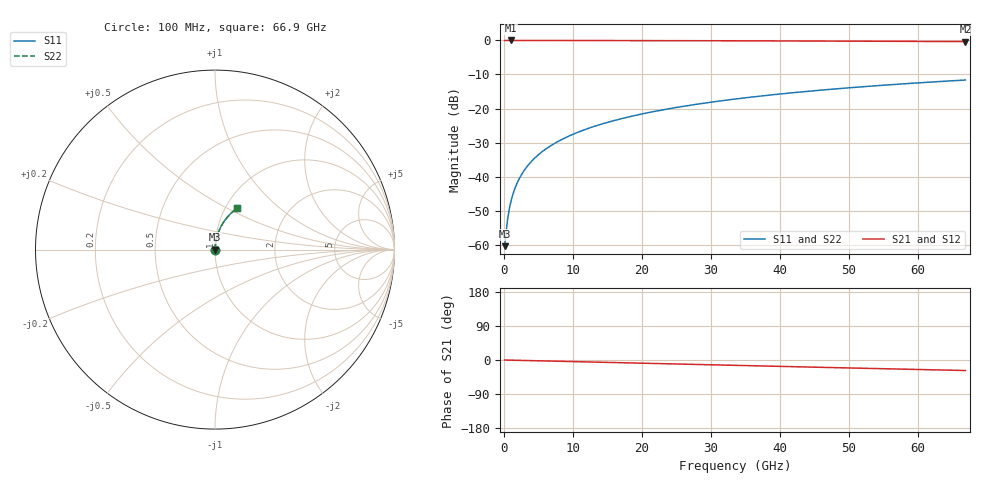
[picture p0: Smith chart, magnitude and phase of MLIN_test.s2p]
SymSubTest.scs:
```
simulator lang=local

global 0

include 'D:\saves\Pycharm\HowToElementBuilder\Code\Files\cir\MLIN_test.cir'

U1 p1 p2 s_equivalent

PORT1 p1 0 port r=50 num=1 type=sine fundname=aaa ampl=0.0001 freq=5000000000 data=0 rptstart=1 rpttimes=0 mag=1e-006
PORT2 p2 0 port r=50 num=2 type=sine fundname=aaa ampl=0.0001 freq=5000000000 data=0 rptstart=1 rpttimes=0 mag=1e-006


sp sp start=0.1G stop=67G dec=401 file="D:\saves\Pycharm\HowToElementBuilder\Code\Files\sym\MLIN_test.s2p"

DEFAULT_OPTIONS options tnom=27 temp=27  acout=0 fast_spice=0 reltol=1.000000e-003 rawfmt=nutascii
```
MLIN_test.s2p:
! Created with skrf (http://scikit-rf.org).
# Hz S RI R 50.0
!freq ReS11 ImS11 ReS21 ImS21 ReS12 ImS12 ReS22 ImS22
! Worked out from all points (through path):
!   669 points, 100 MHz to 66.9 GHz, reference 50 ohm
!   highest |S21| = -0.01 dB at 1 GHz (marker M1); lowest = -0.3 dB at 66.9 GHz (marker M2)
!   group delay of S21, straight-line fit = 1.16 ps
!   lowest |S11| = -60.4 dB at 100 MHz (marker M3), VSWR 1.00, Z = 50.1 + j0.0419 ohm
!   |S11| at or under -10 dB: start of sweep to end of sweep
!   |S22| runs from -60.4 to -11.6 dB; largest |S21 - S12| = 7.4e-14
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1e8  0.000856 0.000418  0.9991 -0.000743  0.9991 -0.000743  0.000856 0.000418
7e8  0.000725 0.00293  0.9993 -0.0052  0.9993 -0.0052  0.000725 0.00293
1e9  0.00071 0.00419  0.9993 -0.00743  0.9993 -0.00743  0.00071 0.00419
1.5e9  0.00078 0.00628  0.9992 -0.0111  0.9992 -0.0111  0.00078 0.00628
2.1e9  0.000885 0.00879  0.9991 -0.0156  0.9991 -0.0156  0.000885 0.00879
3.7e9  0.00127 0.0155  0.9986 -0.0275  0.9986 -0.0275  0.00127 0.0155
6.1e9  0.00217 0.0255  0.9976 -0.0453  0.9976 -0.0453  0.00217 0.0255
9.3e9  0.00393 0.0387  0.9955 -0.0689  0.9955 -0.0689  0.00393 0.0387
1.89e10  0.0127 0.0777  0.9852 -0.139  0.9852 -0.139  0.0127 0.0777
3.35e10  0.0359 0.1331  0.9578 -0.2418  0.9578 -0.2418  0.0359 0.1331
6.69e10  0.1249 0.2305  0.8505 -0.448  0.8505 -0.448  0.1249 0.2305
